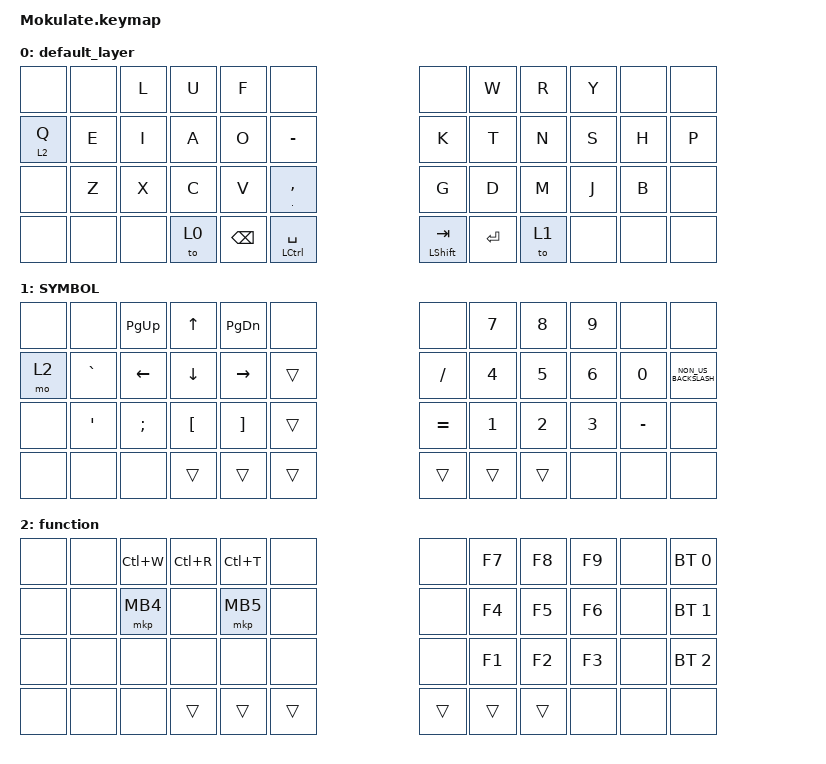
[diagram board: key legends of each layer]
#include <behaviors.dtsi>
#include <dt-bindings/zmk/bt.h>
#include <dt-bindings/zmk/keys.h>
#include <dt-bindings/zmk/pointing.h>

/ {
    combos {
        compatible = "zmk,combos";

        lan_2 {
            bindings = <&kp LANGUAGE_1>;
            key-positions = <15 16>;
        };

        lan_1 {
            bindings = <&kp LANGUAGE_2>;
            key-positions = <19 20>;
        };

        gui {
            bindings = <&kp LEFT_GUI>;
            key-positions = <13 14>;
        };

        alt {
            bindings = <&kp LEFT_ALT>;
            key-positions = <21 22>;
        };

        to_layer2 {
            bindings = <&to 1>;
            key-positions = <12 39>;
        };

        symbol_layeu {
            bindings = <&to 2>;
            key-positions = <39 44>;
        };
    };

    keymap {
        compatible = "zmk,keymap";

        default_layer {
            bindings = <
&none    &none  &kp L  &kp U  &kp F          &none               &none               &kp W      &kp R  &kp Y  &none  &none
&lt 2 Q  &kp E  &kp I  &kp A  &kp O          &kp MINUS           &kp K               &kp T      &kp N  &kp S  &kp H  &kp P
&none    &kp Z  &kp X  &kp C  &kp V          &mt PERIOD COMMA    &kp G               &kp D      &kp M  &kp J  &kp B  &none
&none    &none  &none  &to 0  &kp BACKSPACE  &mt LCTRL SPACE     &mt LEFT_SHIFT TAB  &kp ENTER  &to 1  &none  &none  &none
            >;
        };

        SYMBOL {
            bindings = <
&none  &none      &kp PAGE_UP    &kp UP_ARROW      &kp PAGE_DOWN      &none     &none      &kp NUMBER_7  &kp NUMBER_8  &kp N9        &none         &none
&mo 2  &kp GRAVE  &kp LEFT       &kp DOWN          &kp RIGHT          &trans    &kp SLASH  &kp NUMBER_4  &kp NUMBER_5  &kp NUMBER_6  &kp NUMBER_0  &kp NON_US_BACKSLASH
&none  &kp SQT    &kp SEMICOLON  &kp LEFT_BRACKET  &kp RIGHT_BRACKET  &trans    &kp EQUAL  &kp NUMBER_1  &kp NUMBER_2  &kp NUMBER_3  &kp MINUS     &none
&none  &none      &none          &trans            &trans             &trans    &trans     &trans        &trans        &none         &none         &none
            >;
        };

        function {
            bindings = <
&none  &none  &kp LC(W)  &kp LC(R)  &kp LC(T)  &none     &none   &kp F7  &kp F8  &kp F9  &none  &bt BT_SEL 0
&none  &none  &mkp MB4   &none      &mkp MB5   &none     &none   &kp F4  &kp F5  &kp F6  &none  &bt BT_SEL 1
&none  &none  &none      &none      &none      &none     &none   &kp F1  &kp F2  &kp F3  &none  &bt BT_SEL 2
&none  &none  &none      &trans     &trans     &trans    &trans  &trans  &trans  &none   &none  &none
            >;
        };
    };

    conditional_layers { compatible = "zmk,conditional-layers"; };
};
